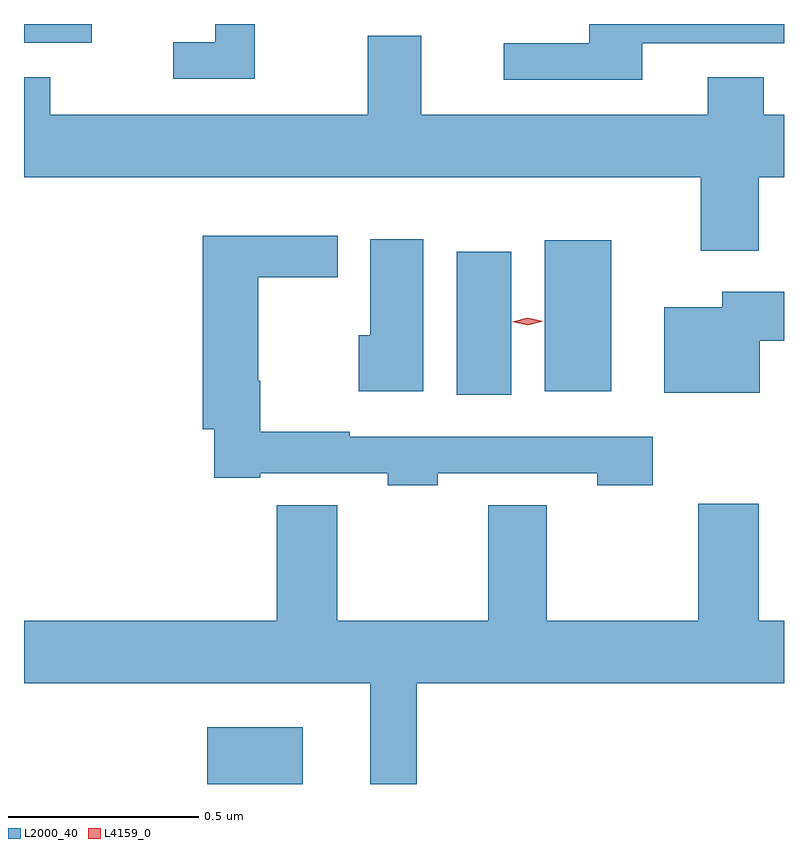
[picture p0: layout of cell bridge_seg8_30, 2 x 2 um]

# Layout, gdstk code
import gdstk
lib = gdstk.Library(unit=1e-6, precision=1e-09)
def R(c, l, rs):  # rectangles x0, y0, x1, y1
    for r in rs: c.add(gdstk.rectangle(r[:2], r[2:], *l))
def P(c, l, *ps):  # polygons
    for p in ps: c.add(gdstk.Polygon(p, *l))
L2000_40 = (2000, 40)
L4159_0 = (4159, 0)

bridge_seg8_30 = lib.new_cell('bridge_seg8_30')
R(bridge_seg8_30, L2000_40, [(1091.546,1158.859,1091.797,1159.009), (1092.203,1159.884,1092.346,1160.26), (1092.434,1159.892,1092.61,1160.29), (1091.064,1160.81,1091.242,1160.859)])
P(bridge_seg8_30, L2000_40, [(1091.671,1160.859),(1091.567,1160.859),(1091.567,1160.811),(1091.457,1160.811),(1091.457,1160.715),(1091.671,1160.715)],
  [(1092.691,1160.808),(1093.064,1160.808),(1093.064,1160.859),(1092.551,1160.859),(1092.551,1160.808),(1092.327,1160.808),(1092.327,1160.712),(1092.691,1160.712)],
  [(1092.998,1160.456),(1093.064,1160.456),(1093.064,1160.62),(1093.011,1160.62),(1093.011,1160.719),(1092.863,1160.719),(1092.863,1160.62),(1092.109,1160.62),(1092.109,1160.828),(1091.969,1160.828),(1091.969,1160.62),(1091.133,1160.62),(1091.133,1160.719),(1091.064,1160.719),(1091.064,1160.456),(1092.845,1160.456),(1092.845,1160.262),(1092.998,1160.262)],
  [(1092.153,1159.677),(1092.573,1159.677),(1092.573,1159.645),(1092.718,1159.645),(1092.718,1159.773),(1091.921,1159.773),(1091.921,1159.786),(1091.686,1159.786),(1091.686,1159.92),(1091.68,1159.92),(1091.68,1160.193),(1091.89,1160.193),(1091.89,1160.302),(1091.534,1160.302),(1091.534,1159.793),(1091.565,1159.793),(1091.565,1159.665),(1091.686,1159.665),(1091.686,1159.677),(1092.021,1159.677),(1092.021,1159.645),(1092.153,1159.645)],
  [(1092.115,1160.293),(1091.975,1160.293),(1091.975,1160.04),(1091.945,1160.04),(1091.945,1159.892),(1092.115,1159.892)],
  [(1093,1160.026),(1093.064,1160.026),(1093.064,1160.155),(1092.902,1160.155),(1092.902,1160.113),(1092.749,1160.113),(1092.749,1159.889),(1093,1159.889)],
  [(1093.064,1159.288),(1092.998,1159.288),(1092.998,1159.597),(1092.838,1159.597),(1092.838,1159.288),(1092.44,1159.288),(1092.44,1159.592),(1092.286,1159.592),(1092.286,1159.288),(1091.888,1159.288),(1091.888,1159.592),(1091.729,1159.592),(1091.729,1159.288),(1091.064,1159.288),(1091.064,1159.124),(1091.975,1159.124),(1091.975,1158.859),(1092.097,1158.859),(1092.097,1159.124),(1093.064,1159.124)])
P(bridge_seg8_30, L4159_0, [(1092.389,1160.066),(1092.349,1160.076),(1092.348,1160.076),(1092.349,1160.076),(1092.389,1160.086),(1092.43,1160.077),(1092.43,1160.077),(1092.43,1160.077)])

lib.write_gds('bridge_seg8_30.gds')
